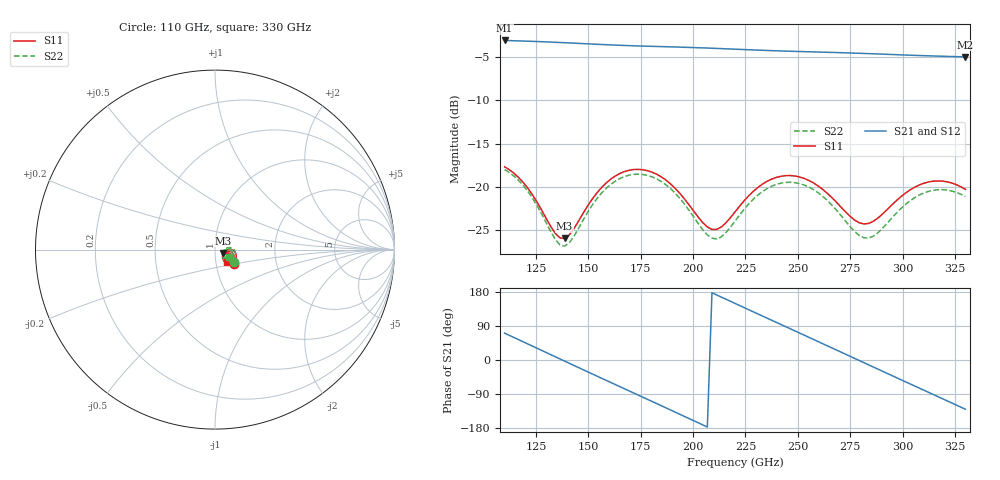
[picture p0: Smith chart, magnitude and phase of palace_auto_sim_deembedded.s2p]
! Created with skrf 1.11.0 (http://scikit-rf.org).
# GHz S DB R 50.0
!freq dBS11 angS11 dBS21 angS21 dBS12 angS12 dBS22 angS22
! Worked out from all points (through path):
!   101 points, 110 GHz to 330 GHz, reference 50 ohm
!   highest |S21| = -3.07 dB at 110 GHz (marker M1); lowest = -5.0 dB at 330 GHz (marker M2)
!   group delay of S21, straight-line fit = 7.08 ps
!   lowest |S11| = -25.9 dB at 138.6 GHz (marker M3), VSWR 1.11, Z = 54.9 - j2.06 ohm
!   |S11| at or under -10 dB: start of sweep to end of sweep
!   |S22| runs from -26.8 to -18.0 dB; largest |S21 - S12| = 7.7e-14
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110  -17.67 -37.0  -3.07 70.8  -3.07 70.8  -18.00 -33.5
125.4  -21.72 -52.0  -3.19 31.2  -3.19 31.2  -22.12 -48.8
134.2  -25.37 -38.9  -3.28 8.5  -3.28 8.5  -26.07 -35.8
138.6  -25.95 -21.9  -3.33 -2.8  -3.33 -2.8  -26.84 -17.6
147.4  -23.08 -0.0  -3.43 -25.4  -3.43 -25.4  -23.87 6.9
158.4  -19.56 -3.9  -3.56 -53.5  -3.56 -53.5  -20.18 3.6
167.2  -18.23 -15.2  -3.65 -75.8  -3.65 -75.8  -18.80 -7.4
176  -18.01 -28.0  -3.72 -98.2  -3.72 -98.2  -18.56 -20.2
184.8  -18.83 -39.9  -3.78 -120.6  -3.78 -120.6  -19.38 -32.1
202.4  -23.48 -45.0  -3.91 -165.6  -3.91 -165.6  -24.21 -38.1
211.2  -24.91 -24.6  -3.99 171.9  -3.99 171.9  -26.00 -16.5
220  -22.89 -8.6  -4.08 149.4  -4.08 149.4  -23.95 2.1
231  -20.04 -11.0  -4.19 121.4  -4.19 121.4  -20.92 0.6
239.8  -18.89 -20.5  -4.27 99.1  -4.27 99.1  -19.70 -8.8
248.6  -18.74 -31.7  -4.33 76.8  -4.33 76.8  -19.50 -20.1
257.4  -19.52 -41.9  -4.39 54.5  -4.39 54.5  -20.29 -30.6
268.4  -21.76 -47.9  -4.47 26.5  -4.47 26.5  -22.67 -37.6
277.2  -23.84 -40.4  -4.54 4.0  -4.54 4.0  -25.17 -30.4
283.8  -24.22 -27.5  -4.59 -12.8  -4.59 -12.8  -25.90 -15.2
294.8  -22.10 -15.2  -4.69 -40.8  -4.69 -40.8  -23.61 1.5
312.4  -19.42 -26.7  -4.85 -85.3  -4.85 -85.3  -20.51 -8.6
330  -20.27 -45.3  -4.97 -129.9  -4.97 -129.9  -21.11 -26.9
